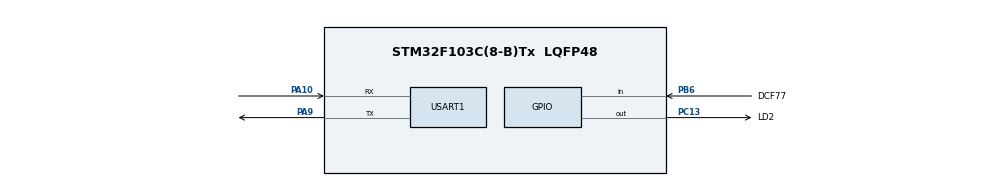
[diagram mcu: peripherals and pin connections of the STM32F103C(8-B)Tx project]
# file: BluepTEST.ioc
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Dma.Request0=USART1_TX
Dma.USART1_TX.0.Direction=DMA_MEMORY_TO_PERIPH
Dma.USART1_TX.0.Instance=DMA1_Channel4
Dma.USART1_TX.0.MemDataAlignment=DMA_MDATAALIGN_BYTE
Dma.USART1_TX.0.MemInc=DMA_MINC_ENABLE
Dma.USART1_TX.0.Mode=DMA_NORMAL
Dma.USART1_TX.0.PeriphDataAlignment=DMA_PDATAALIGN_BYTE
Dma.USART1_TX.0.PeriphInc=DMA_PINC_DISABLE
Dma.USART1_TX.0.Priority=DMA_PRIORITY_LOW
Mcu.Family=STM32F1
Mcu.Name=STM32F103C(8-B)Tx
Mcu.Package=LQFP48
NVIC.DMA1_Channel4_IRQn=true\:0\:0\:false\:false\:true\:false\:true\:true
NVIC.PriorityGroup=NVIC_PRIORITYGROUP_4
NVIC.TIM2_IRQn=true\:0\:0\:false\:false\:true\:true\:true\:true
NVIC.USART1_IRQn=true\:0\:0\:false\:false\:true\:true\:true\:true
PA10.Mode=Asynchronous
PA10.Signal=USART1_RX
PA13.Mode=Serial_Wire
PA13.Signal=SYS_JTMS-SWDIO
PA14.Mode=Serial_Wire
PA14.Signal=SYS_JTCK-SWCLK
PA9.Mode=Asynchronous
PA9.Signal=USART1_TX
PB6.GPIO_Label=DCF77
PB6.GPIO_PuPd=GPIO_PULLUP
PB6.Signal=GPIO_Input
PC13-TAMPER-RTC.GPIO_Label=LD2
PC13-TAMPER-RTC.Signal=GPIO_Output
PD0-OSC_IN.Mode=HSE-External-Oscillator
PD0-OSC_IN.Signal=RCC_OSC_IN
PD1-OSC_OUT.Mode=HSE-External-Oscillator
PD1-OSC_OUT.Signal=RCC_OSC_OUT
ProjectManager.HeapSize=0x200
ProjectManager.StackSize=0x400
ProjectManager.TargetToolchain=STM32CubeIDE
RCC.APB1Freq_Value=8000000
RCC.APB2Freq_Value=8000000
RCC.SYSCLKSource=RCC_SYSCLKSOURCE_HSE
TIM2.Period=999
TIM2.Prescaler=7
USART1.VirtualMode=VM_ASYNC
VP_TIM2_VS_ClockSourceINT.Mode=Internal
board=custom

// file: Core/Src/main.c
/* USER CODE BEGIN Header */
/**
  ******************************************************************************
  * @file           : main.c
  * @brief          : Main program body
  ******************************************************************************
  * @attention
  *
  * Copyright (c) 2026 STMicroelectronics.
  * All rights reserved.
  *
  * This software is licensed under terms that can be found in the LICENSE file
  * in the root directory of this software component.
  * If no LICENSE file comes with this software, it is provided AS-IS.
  *
  ******************************************************************************
  */
/* USER CODE END Header */
#include "main.h"
#include "dma.h"
#include "tim.h"
#include "usart.h"
#include "gpio.h"

/* USER CODE BEGIN Includes */
#include <stdio.h>
#include <string.h>
#include "debug.h"
#include "dcf77_bridge.h"
/* USER CODE END Includes */

/* USER CODE BEGIN PD */

#define DCF77_INVERTED_SAMPLES  0
/* USER CODE END PD */

/* USER CODE BEGIN PV */
uint32_t	timer_1ms = 0;

/* USER CODE END PV */

void SystemClock_Config(void);

/* USER CODE BEGIN 0 */

uint8_t dcf77_input_provider(void)
{
	/* Legge il pin DCF77, applica eventuale inversione, aggiorna il LED monitor */
	    uint8_t sampled = (uint8_t)HAL_GPIO_ReadPin(DCF77_GPIO_Port, DCF77_Pin);
	    sampled ^= DCF77_INVERTED_SAMPLES;

	    /* LED monitor: ON quando il segnale � alto (portante presente)
	     * Adatta GPIO_PIN_x e GPIOx al tuo LED monitor */
	    HAL_GPIO_WritePin(LD2_GPIO_Port, LD2_Pin, sampled ? GPIO_PIN_SET : GPIO_PIN_RESET);

	    return sampled;
}

/* --- Stampa ora su UART (equivalente di paddedPrint + loop) --- */
static void dcf77_print_time(const DCF77_Time_t *t)
{
    char buf[64];

    /* Stato del clock */
    const char *state_str;
    switch (dcf77_bridge_get_clock_state()) {
        case DCF77_STATE_USELESS:  state_str = "useless  "; break;
        case DCF77_STATE_DIRTY:    state_str = "dirty    "; break;
        case DCF77_STATE_FREE:     state_str = "free     "; break;
        case DCF77_STATE_UNLOCKED: state_str = "unlocked "; break;
        case DCF77_STATE_LOCKED:   state_str = "locked   "; break;
        case DCF77_STATE_SYNCED:   state_str = "synced   "; break;
        default:                   state_str = "unknown  "; break;
    }

    /* Formato: "synced   2025-06-15 14:32:01+02" */
    snprintf(buf, sizeof(buf),
             "%s 20%02u-%02u-%02u %02u:%02u:%02u+0%c",
             state_str,
             t->year, t->month, t->day,
             t->hour, t->minute, t->second,
             t->uses_summertime ? '2' : '1');

//    HAL_UART_Transmit(&huart2, (uint8_t*)buf, strlen(buf), HAL_MAX_DELAY);
    APP_DEBUG(DBG_TRACE, buf);
}

/* USER CODE END 0 */

int main(void)
{

  /* MCU Configuration--------------------------------------------------------*/

  /* Reset of all peripherals, Initializes the Flash interface and the Systick. */
  HAL_Init();

  /* Configure the system clock */
  SystemClock_Config();

  /* Initialize all configured peripherals */
  MX_GPIO_Init();
  MX_DMA_Init();
  MX_USART1_UART_Init();
  MX_TIM2_Init();
  /* USER CODE BEGIN 2 */

  // Messaggio di avvio
  APP_DEBUG(DBG_TRACE,"\r\nSimple DCF77 Clock");
  HAL_Delay(10);
  APP_DEBUG(DBG_TRACE,"Initializing...");

  dcf77_bridge_setup(dcf77_input_provider, NULL);

  // STart TIM2
  HAL_TIM_Base_Start_IT(&htim2);

  APP_DEBUG(DBG_TRACE, "By MLT using Udo Klein library");

	  uint32_t dot_count = 0;
  {
	  DCF77_ClockState_t state;
	  do {
		  HAL_Delay(1000);
		  HAL_UART_Transmit(&huart1, (uint8_t*)".", 1, HAL_MAX_DELAY);
		  if (!((++dot_count)%60)) {
			  APP_DEBUG(DBG_TRACE,"");	//is == '\n'
		  }
		  state = dcf77_bridge_get_clock_state();
	  } while (state == DCF77_STATE_USELESS || state == DCF77_STATE_DIRTY);

  }
  APP_DEBUG(DBG_TRACE,"Synced! seconds = %d", dot_count);

  /* USER CODE END 2 */

  /* Infinite loop */
  /* USER CODE BEGIN WHILE */
  while (1)
  {
	  DCF77_Time_t now;
	  dcf77_bridge_read_current_time(&now);

	  if (now.month > 0) {
		  dcf77_print_time(&now);
	  }

	  HAL_Delay(1000);

    /* USER CODE END WHILE */

  }
}

void SystemClock_Config(void)
{
  RCC_OscInitTypeDef RCC_OscInitStruct = {0};
  RCC_ClkInitTypeDef RCC_ClkInitStruct = {0};

  /** Initializes the RCC Oscillators according to the specified parameters
  * in the RCC_OscInitTypeDef structure.
  */
  RCC_OscInitStruct.OscillatorType = RCC_OSCILLATORTYPE_HSE;
  RCC_OscInitStruct.HSEState = RCC_HSE_ON;
  RCC_OscInitStruct.PLL.PLLState = RCC_PLL_NONE;
  if (HAL_RCC_OscConfig(&RCC_OscInitStruct) != HAL_OK)
  {
    Error_Handler();
  }

  /** Initializes the CPU, AHB and APB buses clocks
  */
  RCC_ClkInitStruct.ClockType = RCC_CLOCKTYPE_HCLK|RCC_CLOCKTYPE_SYSCLK
                              |RCC_CLOCKTYPE_PCLK1|RCC_CLOCKTYPE_PCLK2;
  RCC_ClkInitStruct.SYSCLKSource = RCC_SYSCLKSOURCE_HSE;
  RCC_ClkInitStruct.AHBCLKDivider = RCC_SYSCLK_DIV1;
  RCC_ClkInitStruct.APB1CLKDivider = RCC_HCLK_DIV1;
  RCC_ClkInitStruct.APB2CLKDivider = RCC_HCLK_DIV1;

  if (HAL_RCC_ClockConfig(&RCC_ClkInitStruct, FLASH_LATENCY_0) != HAL_OK)
  {
    Error_Handler();
  }
}

/* USER CODE BEGIN 4 */
// Tipycal output redirection. Here I use dam and/or Interrupt
/*
int __io_putchar(int ch) {
    HAL_UART_Transmit(&huart2, (uint8_t *)&ch, 1, 0xFFFF);
    return ch;
}
*/

void HAL_TIM_PeriodElapsedCallback(TIM_HandleTypeDef *htim)
{
    if (htim->Instance == TIM2)
    {
        dcf77_bridge_isr_handler();
        timer_1ms++;
    }
}

//--------------------------------------------------------------------
/** UART TX complete interrupt callback processing
 *
 * \param	huart	Pointer to the UART handle for which this callback is executed
 */
void HAL_UART_TxCpltCallback(UART_HandleTypeDef *huart)
{
	// If all data from UART output completely to ESP32
	if (huart == &huart1) {

		// Call the TX complete callback from DEBUG communication module
		DBG_TX_Complete_Callback();
	}
}

/* USER CODE END 4 */

void Error_Handler(void)
{
  __disable_irq();
  while (1)
  {
  }
}
